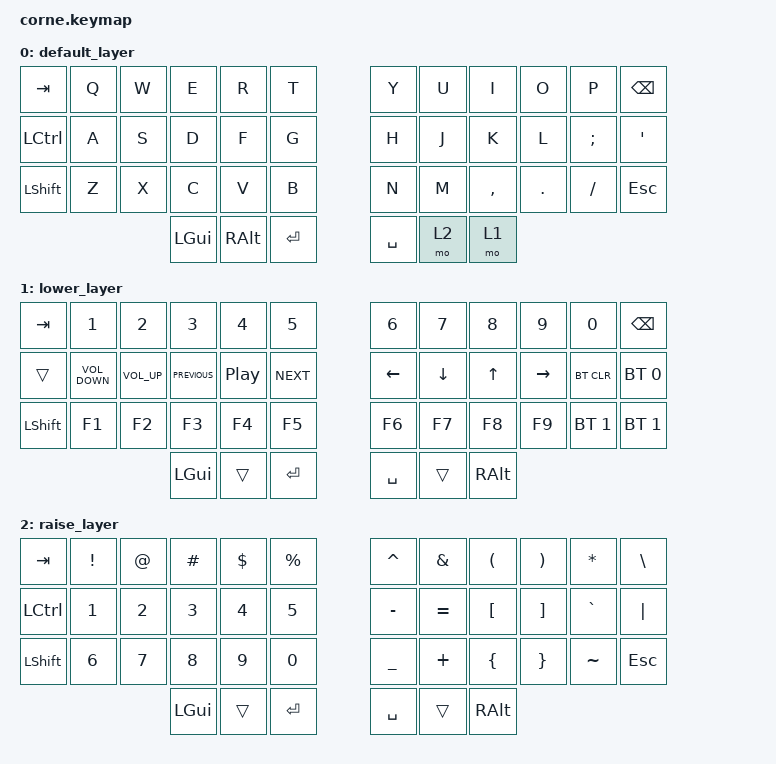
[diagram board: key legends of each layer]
/*
 * Copyright (c) 2020 The ZMK Contributors
 *
 * SPDX-License-Identifier: MIT
 */

#include <behaviors.dtsi>
#include <dt-bindings/zmk/bt.h>
#include <dt-bindings/zmk/keys.h>

/ {
    keymap {
        compatible = "zmk,keymap";

        default_layer {
            // -----------------------------------------------------------------------------------------
            // |  TAB |  Q  |  W  |  E  |  R  |  T  |   |  Y  |  U   |  I  |  O  |  P  | BKSP |
            // | CTRL |  A  |  S  |  D  |  F  |  G  |   |  H  |  J   |  K  |  L  |  ;  |  '   |
            // | SHFT |  Z  |  X  |  C  |  V  |  B  |   |  N  |  M   |  ,  |  .  |  /  | ESC  |
            //                    | GUI | LWR | SPC |   | ENT | RSE  | ALT |

            bindings = <
&kp TAB    &kp Q  &kp W  &kp E     &kp R          &kp T      &kp Y      &kp U  &kp I      &kp O    &kp P     &kp BSPC
&kp LCTRL  &kp A  &kp S  &kp D     &kp F          &kp G      &kp H      &kp J  &kp K      &kp L    &kp SEMI  &kp SQT
&kp LSHFT  &kp Z  &kp X  &kp C     &kp V          &kp B      &kp N      &kp M  &kp COMMA  &kp DOT  &kp FSLH  &kp ESC
                         &kp LGUI  &kp RIGHT_ALT  &kp RET    &kp SPACE  &mo 2  &mo 1
            >;
        };

        lower_layer {
            // -----------------------------------------------------------------------------------------
            // |  TAB |  1  |  2  |  3  |  4  |  5  |   |  6  |  7  |  8  |  9  |  0  | BKSP |
            // | BTCLR| BT1 | BT2 | BT3 | BT4 | BT5 |   | LFT | DWN |  UP | RGT |     |      |
            // | SHFT |     |     |     |     |     |   |     |     |     |     |     |      |
            //                    | GUI |     | SPC |   | ENT |     | ALT |

            bindings = <
&kp TAB    &kp N1             &kp N2           &kp N3          &kp N4    &kp N5        &kp N6     &kp N7    &kp N8    &kp N9     &kp N0        &kp BSPC
&trans     &kp C_VOLUME_DOWN  &kp C_VOLUME_UP  &kp C_PREVIOUS  &kp C_PP  &kp C_NEXT    &kp LEFT   &kp DOWN  &kp UP    &kp RIGHT  &bt BT_CLR    &bt BT_SEL 0
&kp LSHFT  &kp F1             &kp F2           &kp F3          &kp F4    &kp F5        &kp F6     &kp F7    &kp F8    &kp F9     &bt BT_SEL 1  &bt BT_SEL 1
                                               &kp LGUI        &trans    &kp RET       &kp SPACE  &trans    &kp RALT
            >;
        };

        raise_layer {
            // -----------------------------------------------------------------------------------------
            // |  TAB |  !  |  @  |  #  |  $  |  %  |   |  ^  |  &  |  *  |  (  |  )  | BKSP |
            // | CTRL |     |     |     |     |     |   |  -  |  =  |  [  |  ]  |  \  |  `   |
            // | SHFT |     |     |     |     |     |   |  _  |  +  |  {  |  }  | "|" |  ~   |
            //                    | GUI |     | SPC |   | ENT |     | ALT |

            bindings = <
&kp TAB    &kp EXCL      &kp AT        &kp HASH      &kp DLLR      &kp PRCNT       &kp CARET       &kp AMPS   &kp LEFT_PARENTHESIS  &kp RIGHT_PARENTHESIS  &kp ASTERISK  &kp BACKSLASH
&kp LCTRL  &kp NUMBER_1  &kp NUMBER_2  &kp NUMBER_3  &kp NUMBER_4  &kp NUMBER_5    &kp MINUS       &kp EQUAL  &kp LEFT_BRACKET      &kp RIGHT_BRACKET      &kp GRAVE     &kp PIPE
&kp LSHFT  &kp NUMBER_6  &kp NUMBER_7  &kp NUMBER_8  &kp NUMBER_9  &kp NUMBER_0    &kp UNDERSCORE  &kp PLUS   &kp LEFT_BRACE        &kp RIGHT_BRACE        &kp TILDE     &kp ESC
                                       &kp LGUI      &trans        &kp RET         &kp SPACE       &trans     &kp RALT
            >;
        };
    };
};
